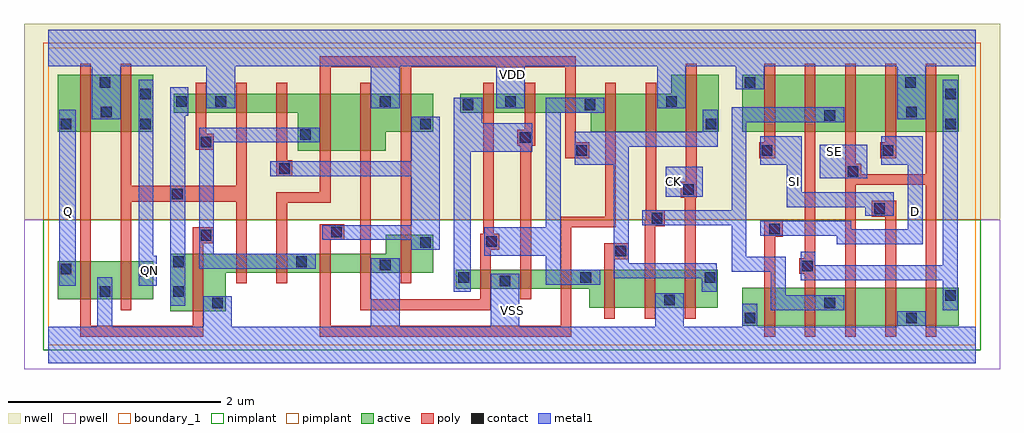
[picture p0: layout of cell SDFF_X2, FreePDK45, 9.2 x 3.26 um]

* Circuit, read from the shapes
.subckt SDFF_X2 CK D Q QN SE SI VDD VSS
M1 VSS n1 Q VSUBS nfet w=0.36u l=0.1u
M2 QN n2 VSS VSUBS nfet w=0.36u l=0.1u
M3 VSS n1 n2 VSUBS nfet w=0.54u l=0.1u
M4 n3 n2 VSS VSUBS nfet w=0.18u l=0.1u
M5 n1 n4 n3 VSUBS nfet w=0.18u l=0.1u
M6 n5 n6 n1 VSUBS nfet w=0.18u l=0.1u
M7 VSS n7 n5 VSUBS nfet w=0.18u l=0.1u
M8 n6 n4 VSS VSUBS nfet w=0.36u l=0.1u
M9 VSS n7 n8 VSUBS nfet w=0.18u l=0.1u
M10 n9 n8 VSS VSUBS nfet w=0.18u l=0.1u
M11 n7 n6 n9 VSUBS nfet w=0.18u l=0.1u
M12 n10 n4 n7 VSUBS nfet w=0.36u l=0.1u
M13 VSS n11 n10 VSUBS nfet w=0.36u l=0.1u
M14 n4 CK VSS VSUBS nfet w=0.36u l=0.1u
M15 n12 D VSS VSUBS nfet w=0.36u l=0.1u
M16 n11 n13 n12 VSUBS nfet w=0.36u l=0.1u
M17 n14 SE n11 VSUBS nfet w=0.36u l=0.1u
M18 VSS SI n14 VSUBS nfet w=0.36u l=0.1u
M19 n13 SE VSS VSUBS nfet w=0.36u l=0.1u
M20 VDD n1 Q n15 pfet w=0.54u l=0.1u
M21 QN n2 VDD n15 pfet w=0.54u l=0.1u
M22 VDD n1 n2 n15 pfet w=0.18u l=0.1u
M23 n16 n2 VDD n15 pfet w=0.18u l=0.1u
M24 n1 n6 n16 n15 pfet w=0.18u l=0.1u
M25 n17 n4 n1 n15 pfet w=0.54u l=0.1u
M26 VDD n7 n17 n15 pfet w=0.54u l=0.1u
M27 n6 n4 VDD n15 pfet w=0.36u l=0.1u
M28 VDD n7 n8 n15 pfet w=0.18u l=0.1u
M29 n18 n8 VDD n15 pfet w=0.18u l=0.1u
M30 n7 n4 n18 n15 pfet w=0.18u l=0.1u
M31 n19 n6 n7 n15 pfet w=0.36u l=0.1u
M32 VDD n11 n19 n15 pfet w=0.36u l=0.1u
M33 n4 CK VDD n15 pfet w=0.54u l=0.1u
M34 n20 SI VDD n15 pfet w=0.54u l=0.1u
M35 n11 n13 n20 n15 pfet w=0.54u l=0.1u
M36 n21 SE n11 n15 pfet w=0.54u l=0.1u
M37 VDD D n21 n15 pfet w=0.54u l=0.1u
M38 n13 SE VDD n15 pfet w=0.54u l=0.1u
.ends

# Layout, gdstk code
import gdstk
lib = gdstk.Library(unit=1e-6, precision=1e-09)
def R(c, l, rs):  # rectangles x0, y0, x1, y1
    for r in rs: c.add(gdstk.rectangle(r[:2], r[2:], *l))
def P(c, l, *ps):  # polygons
    for p in ps: c.add(gdstk.Polygon(p, *l))
active = (1, 0)
pwell = (2, 0)
nwell = (3, 0)
nimplant = (4, 0)
pimplant = (5, 0)
poly = (9, 0)
contact = (10, 0)
metal1 = (11, 0)
boundary_1 = (235, 1)

sdff_x2 = lib.new_cell('SDFF_X2')
R(sdff_x2, active, [(6.54,0.18,8.58,0.54), (0.09,0.43,0.99,0.79), (0.09,2.01,0.99,2.55), (6.54,2.01,8.58,2.55)])
P(sdff_x2, active, [(3.88,2.19),(5.11,2.19),(5.11,2.01),(6.32,2.01),(6.32,2.55),(5.87,2.55),(5.87,2.37),(3.88,2.37)],
  [(3.84,0.53),(5.1,0.53),(5.1,0.35),(6.31,0.35),(6.31,0.71),(3.84,0.71)],
  [(1.18,2.19),(2.35,2.19),(2.35,1.83),(3.18,1.83),(3.18,2.01),(3.63,2.01),(3.63,2.37),(1.18,2.37)],
  [(1.15,0.32),(1.67,0.32),(1.67,0.68),(3.63,0.68),(3.63,1.04),(3.18,1.04),(3.18,0.86),(1.15,0.86)])
R(sdff_x2, pwell, [(-0.23,-0.23,8.97,1.18)])
R(sdff_x2, nwell, [(-0.23,1.18,8.97,3.03)])
R(sdff_x2, nimplant, [(-0.05,-0.05,8.79,1.18)])
R(sdff_x2, pimplant, [(-0.05,1.18,8.79,2.85)])
P(sdff_x2, poly, [(7.51,0.08),(7.61,0.08),(7.61,1.51),(8.27,1.51),(8.27,0.08),(8.37,0.08),(8.37,2.65),(8.27,2.65),(8.27,1.61),(7.66,1.61),(7.66,1.71),(7.61,1.71),(7.61,2.65),(7.51,2.65)],
  [(7.84,1.76),(7.99,1.76),(7.99,2.65),(7.89,2.65),(7.89,1.91),(7.84,1.91)],
  [(7.76,1.21),(7.89,1.21),(7.89,0.08),(7.99,0.08),(7.99,1.36),(7.76,1.36)],
  [(7.08,0.67),(7.13,0.67),(7.13,0.08),(7.23,0.08),(7.23,2.65),(7.13,2.65),(7.13,0.82),(7.08,0.82)],
  [(6.75,0.08),(6.85,0.08),(6.85,1.02),(6.92,1.02),(6.92,1.17),(6.75,1.17)],
  [(6.7,1.76),(6.85,1.76),(6.85,2.65),(6.75,2.65),(6.75,1.91),(6.7,1.91)],
  [(5.96,1.39),(6,1.39),(6,0.25),(6.1,0.25),(6.1,1.39),(6.11,1.39),(6.11,2.65),(6.01,2.65),(6.01,1.54),(5.96,1.54)],
  [(5.62,0.25),(5.72,0.25),(5.72,1.12),(5.81,1.12),(5.81,1.27),(5.73,1.27),(5.73,2.47),(5.63,2.47),(5.63,1.17),(5.62,1.17)],
  [(5.24,0.25),(5.34,0.25),(5.34,0.81),(5.47,0.81),(5.47,0.96),(5.24,0.96)],
  [(2.56,0.08),(4.93,0.08),(4.93,1.11),(5.35,1.11),(5.35,2.47),(5.25,2.47),(5.25,1.21),(4.83,1.21),(4.83,0.18),(2.66,0.18),(2.66,0.99),(2.79,0.99),(2.79,1.14),(2.56,1.14)],
  [(2.15,0.58),(2.25,0.58),(2.25,1.34),(2.66,1.34),(2.66,2.62),(3.32,2.62),(3.32,0.58),(3.42,0.58),(3.42,2.62),(4.87,2.62),(4.87,1.76),(5.1,1.76),(5.1,1.91),(4.97,1.91),(4.97,2.72),(2.56,2.72),(2.56,1.44),(2.15,1.44)],
  [(4.42,1.88),(4.45,1.88),(4.45,0.43),(4.55,0.43),(4.55,1.88),(4.59,1.88),(4.59,2.47),(4.49,2.47),(4.49,2.03),(4.42,2.03)],
  [(2.94,0.33),(4.17,0.33),(4.17,0.9),(4.25,0.9),(4.25,1.05),(4.2,1.05),(4.2,2.47),(4.1,2.47),(4.1,1.05),(4.07,1.05),(4.07,0.43),(3.04,0.43),(3.04,2.47),(2.94,2.47)],
  [(2.15,1.59),(2.3,1.59),(2.3,1.74),(2.25,1.74),(2.25,2.47),(2.15,2.47)],
  [(0.68,0.33),(0.78,0.33),(0.78,1.35),(1.77,1.35),(1.77,0.58),(1.87,0.58),(1.87,2.47),(1.77,2.47),(1.77,1.5),(0.78,1.5),(0.78,2.65),(0.68,2.65)],
  [(1.39,1.84),(1.56,1.84),(1.56,1.99),(1.49,1.99),(1.49,2.47),(1.39,2.47)],
  [(0.3,0.08),(1.46,0.08),(1.46,0.96),(1.56,0.96),(1.56,1.11),(1.36,1.11),(1.36,0.18),(0.4,0.18),(0.4,2.65),(0.3,2.65)])
R(sdff_x2, contact, [(6.565,0.205,6.665,0.305), (8.085,0.205,8.185,0.305), (1.545,0.345,1.645,0.445), (7.315,0.345,7.415,0.445), (5.805,0.375,5.905,0.475), (8.455,0.415,8.555,0.515), (0.485,0.455,0.585,0.555), (1.175,0.455,1.275,0.555), (4.255,0.555,4.355,0.655), (3.865,0.585,3.965,0.685), (5.015,0.585,5.115,0.685), (6.185,0.585,6.285,0.685), (0.865,0.645,0.965,0.745), (0.115,0.665,0.215,0.765), (7.105,0.695,7.205,0.795), (3.125,0.705,3.225,0.805), (1.175,0.735,1.275,0.835), (2.335,0.735,2.435,0.835), (5.345,0.835,5.445,0.935), (3.505,0.915,3.605,1.015), (4.125,0.925,4.225,1.025), (1.435,0.985,1.535,1.085), (2.665,1.015,2.765,1.115), (6.795,1.045,6.895,1.145), (5.685,1.145,5.785,1.245), (7.785,1.235,7.885,1.335), (1.165,1.375,1.265,1.475), (5.985,1.415,6.085,1.515), (7.535,1.585,7.635,1.685), (2.175,1.615,2.275,1.715), (4.975,1.785,5.075,1.885), (6.725,1.785,6.825,1.885), (7.865,1.785,7.965,1.885), (1.435,1.865,1.535,1.965), (4.445,1.905,4.545,2.005), (2.375,1.935,2.475,2.035), (0.115,2.035,0.215,2.135), (0.865,2.035,0.965,2.135), (3.505,2.035,3.605,2.135), (6.195,2.035,6.295,2.135), (8.455,2.035,8.555,2.135), (7.315,2.115,7.415,2.215), (0.495,2.145,0.595,2.245), (8.085,2.145,8.185,2.245), (3.905,2.215,4.005,2.315), (5.055,2.215,5.155,2.315), (1.205,2.245,1.305,2.345), (1.575,2.245,1.675,2.345), (3.125,2.245,3.225,2.345), (4.305,2.245,4.405,2.345), (5.825,2.245,5.925,2.345), (0.865,2.315,0.965,2.415), (8.455,2.315,8.555,2.415), (0.485,2.425,0.585,2.525), (6.565,2.425,6.665,2.525), (8.075,2.425,8.175,2.525)])
R(sdff_x2, metal1, [(0.1,0.56,0.26,2.22), (0.1,0.56,0.26,2.22), (5.82,1.4,6.17,1.68), (5.82,1.4,6.17,1.68), (7.27,1.57,7.72,1.89), (7.27,1.57,7.72,1.89)])
P(sdff_x2, metal1, [(7.85,1.7),(8.1,1.7),(8.1,1.09),(7.57,1.09),(7.57,1.17),(6.71,1.17),(6.71,1.03),(7.43,1.03),(7.43,0.95),(8.24,0.95),(8.24,1.97),(7.85,1.97)],
  [(0,-0.17),(8.74,-0.17),(8.74,0.17),(8.27,0.17),(8.27,0.32),(8,0.32),(8,0.17),(6.68,0.17),(6.68,0.39),(6.54,0.39),(6.54,0.17),(5.99,0.17),(5.99,0.49),(5.72,0.49),(5.72,0.17),(4.44,0.17),(4.44,0.67),(4.17,0.67),(4.17,0.17),(3.31,0.17),(3.31,0.82),(3.04,0.82),(3.04,0.17),(1.73,0.17),(1.73,0.46),(1.46,0.46),(1.46,0.17),(0.6,0.17),(0.6,0.64),(0.46,0.64),(0.46,0.17),(0,0.17)],
  [(6.71,1.7),(6.96,1.7),(6.96,1.3),(7.7,1.3),(7.7,1.22),(7.97,1.22),(7.97,1.44),(7.1,1.44),(7.1,1.97),(6.71,1.97)],
  [(0,2.63),(0.41,2.63),(0.41,2.13),(0.68,2.13),(0.68,2.63),(1.49,2.63),(1.49,2.23),(1.76,2.23),(1.76,2.63),(3.04,2.63),(3.04,2.23),(3.31,2.23),(3.31,2.63),(4.22,2.63),(4.22,2.23),(4.49,2.23),(4.49,2.63),(5.74,2.63),(5.74,2.23),(6.01,2.23),(6.01,2.63),(6.48,2.63),(6.48,2.41),(6.75,2.41),(6.75,2.63),(8,2.63),(8,2.13),(8.27,2.13),(8.27,2.63),(8.74,2.63),(8.74,2.97),(0,2.97)],
  [(0.85,0.56),(1.02,0.56),(1.02,0.84),(0.99,0.84),(0.99,2.5),(0.85,2.5)],
  [(0,2.63),(0.41,2.63),(0.41,2.13),(0.68,2.13),(0.68,2.63),(1.49,2.63),(1.49,2.23),(1.76,2.23),(1.76,2.63),(3.04,2.63),(3.04,2.23),(3.31,2.23),(3.31,2.63),(4.22,2.63),(4.22,2.23),(4.49,2.23),(4.49,2.63),(5.74,2.63),(5.74,2.23),(6.01,2.23),(6.01,2.63),(6.48,2.63),(6.48,2.41),(6.75,2.41),(6.75,2.63),(8,2.63),(8,2.13),(8.27,2.13),(8.27,2.63),(8.74,2.63),(8.74,2.97),(0,2.97)],
  [(0,-0.17),(8.74,-0.17),(8.74,0.17),(8.27,0.17),(8.27,0.32),(8,0.32),(8,0.17),(6.68,0.17),(6.68,0.39),(6.54,0.39),(6.54,0.17),(5.99,0.17),(5.99,0.49),(5.72,0.49),(5.72,0.17),(4.44,0.17),(4.44,0.67),(4.17,0.67),(4.17,0.17),(3.31,0.17),(3.31,0.82),(3.04,0.82),(3.04,0.17),(1.73,0.17),(1.73,0.46),(1.46,0.46),(1.46,0.17),(0.6,0.17),(0.6,0.64),(0.46,0.64),(0.46,0.17),(0,0.17)],
  [(7.09,0.61),(8.43,0.61),(8.43,0.33),(8.57,0.33),(8.57,2.5),(8.43,2.5),(8.43,0.75),(7.23,0.75),(7.23,0.88),(7.09,0.88)],
  [(7.85,1.7),(8.1,1.7),(8.1,1.09),(7.57,1.09),(7.57,1.17),(6.71,1.17),(6.71,1.03),(7.43,1.03),(7.43,0.95),(8.24,0.95),(8.24,1.97),(7.85,1.97)],
  [(6.71,1.7),(6.96,1.7),(6.96,1.3),(7.7,1.3),(7.7,1.22),(7.97,1.22),(7.97,1.44),(7.1,1.44),(7.1,1.97),(6.71,1.97)],
  [(6.58,2.1),(7.5,2.1),(7.5,2.24),(6.44,2.24),(6.44,1.27),(5.6,1.27),(5.6,1.13),(6.44,1.13),(6.44,0.69),(6.81,0.69),(6.81,0.33),(7.5,0.33),(7.5,0.47),(6.95,0.47),(6.95,0.83),(6.58,0.83)],
  [(5.47,1.87),(6.31,1.87),(6.31,2.22),(6.17,2.22),(6.17,2.01),(4.96,2.01),(4.96,1.7),(5.33,1.7),(5.33,0.63),(6.16,0.63),(6.16,0.5),(6.3,0.5),(6.3,0.77),(5.47,0.77)],
  [(4.83,2.19),(5.24,2.19),(5.24,2.33),(4.69,2.33),(4.69,1.11),(4.11,1.11),(4.11,0.84),(4.69,0.84),(4.69,0.57),(5.2,0.57),(5.2,0.71),(4.83,0.71)],
  [(3.82,0.5),(3.98,0.5),(3.98,1.82),(4.56,1.82),(4.56,2.09),(4.09,2.09),(4.09,2.33),(3.82,2.33)],
  [(2.09,1.59),(3.42,1.59),(3.42,1.13),(2.58,1.13),(2.58,0.99),(3.42,0.99),(3.42,0.9),(3.69,0.9),(3.69,2.15),(3.42,2.15),(3.42,1.73),(2.09,1.73)],
  [(1.56,1.91),(2.56,1.91),(2.56,2.05),(1.42,2.05),(1.42,0.72),(2.52,0.72),(2.52,0.86),(1.56,0.86)],
  [(1.15,0.37),(1.29,0.37),(1.29,2.16),(1.32,2.16),(1.32,2.43),(1.15,2.43)],
  [(0.85,0.56),(1.02,0.56),(1.02,0.84),(0.99,0.84),(0.99,2.5),(0.85,2.5)])
R(sdff_x2, boundary_1, [(0,0,8.74,2.8)])
sdff_x2.add(gdstk.Label('VSS', (4.37,0.325), layer=11, texttype=0))
sdff_x2.add(gdstk.Label('VDD', (4.37,2.55), layer=11, texttype=0))
sdff_x2.add(gdstk.Label('SI', (7.03,1.54), layer=11, texttype=0))
sdff_x2.add(gdstk.Label('SE', (7.41,1.82), layer=11, texttype=0))
sdff_x2.add(gdstk.Label('QN', (0.95,0.7), layer=11, texttype=0))
sdff_x2.add(gdstk.Label('Q', (0.19,1.26), layer=11, texttype=0))
sdff_x2.add(gdstk.Label('D', (8.17,1.26), layer=11, texttype=0))
sdff_x2.add(gdstk.Label('CK', (5.89,1.54), layer=11, texttype=0))

lib.write_gds('SDFF_X2.gds')
